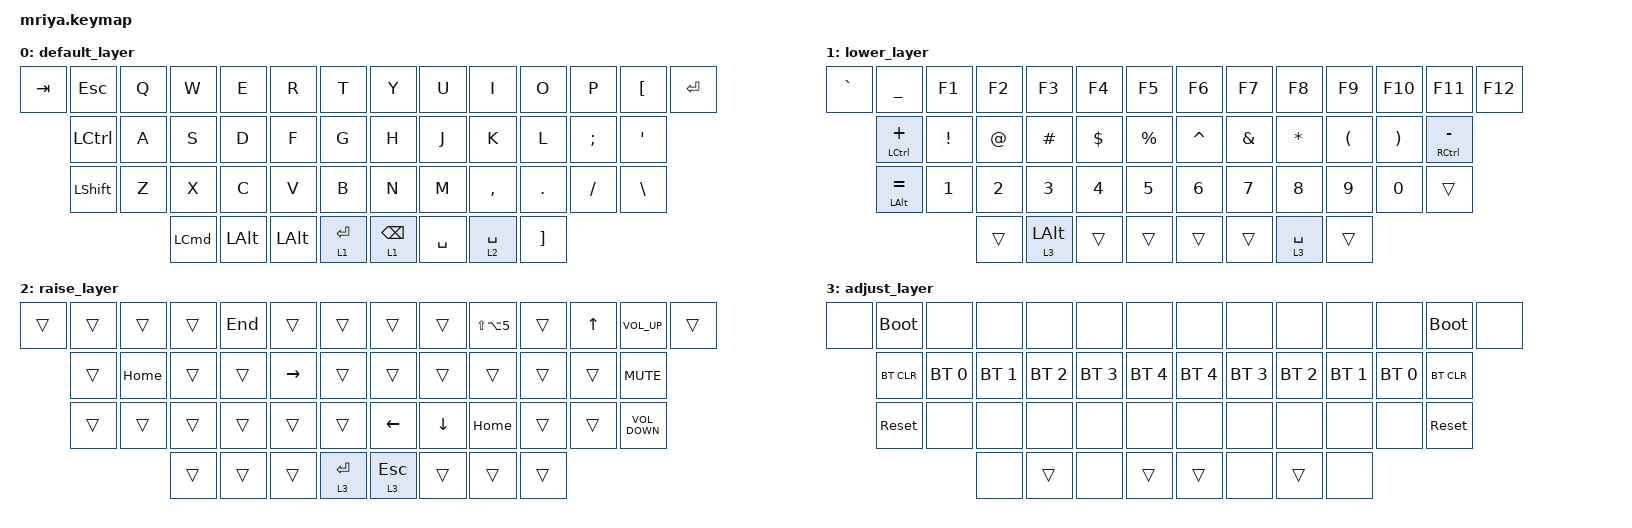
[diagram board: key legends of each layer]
/*
 * Copyright (c) 2023 Andrei Gaevskii
 *
 * SPDX-License-Identifier: MIT
 */

#include <behaviors.dtsi>
#include <dt-bindings/zmk/bt.h>
#include <dt-bindings/zmk/keys.h>

#define DEF 0
#define LWR 1
#define RSE 2
#define ADJ 3

&lt { quick_tap_ms = <200>; };

&mt { quick_tap_ms = <200>; };

/ {
    macros {
        kill: kill {
            compatible = "zmk,behavior-macro";
            #binding-cells = <0>;
            bindings = <&kp LS(END) &kp BACKSPACE>;
            label = "KILL";
            tap-ms = <5>;
        };
    };

    keymap {
        compatible = "zmk,keymap";

        default_layer {
            bindings = <
&kp TAB  &kp ESCAPE      &kp Q  &kp W             &kp E         &kp R         &kp T        &kp Y            &kp U      &kp I        &kp O       &kp P      &kp LBKT       &kp ENTER
         &kp LCTRL       &kp A  &kp S             &kp D         &kp F         &kp G        &kp H            &kp J      &kp K        &kp L       &kp SEMI   &kp SQT
         &kp LEFT_SHIFT  &kp Z  &kp X             &kp C         &kp V         &kp B        &kp N            &kp M      &kp COMMA    &kp PERIOD  &kp SLASH  &kp BACKSLASH
                                &kp LEFT_COMMAND  &kp LEFT_ALT  &kp LEFT_ALT  &lt 1 RET    &lt 1 BACKSPACE  &kp SPACE  &lt 2 SPACE  &kp RBKT
            >;
        };

        lower_layer {
            bindings = <
&kp GRAVE  &kp UNDER       &kp F1    &kp F2  &kp F3          &kp F4    &kp F5       &kp F6     &kp F7    &kp F8       &kp F9    &kp F10   &kp F11          &kp F12
           &mt LCTRL PLUS  &kp EXCL  &kp AT  &kp HASH        &kp DLLR  &kp PRCNT    &kp CARET  &kp AMPS  &kp STAR     &kp LPAR  &kp RPAR  &mt RCTRL MINUS
           &mt LALT EQUAL  &kp N1    &kp N2  &kp N3          &kp N4    &kp N5       &kp N6     &kp N7    &kp N8       &kp N9    &kp N0    &trans
                                     &trans  &lt 3 LEFT_ALT  &trans    &trans       &trans     &trans    &lt 3 SPACE  &trans
            >;
        };

        raise_layer {
            bindings = <
&trans  &trans  &trans    &trans  &kp END  &trans           &trans       &trans     &trans    &kp LS(LA(NUMBER_5))  &trans  &kp UP_ARROW  &kp C_VOLUME_UP    &trans
        &trans  &kp HOME  &trans  &trans   &kp RIGHT_ARROW  &trans       &trans     &trans    &trans                &trans  &trans        &kp K_MUTE
        &trans  &trans    &trans  &trans   &trans           &trans       &kp LEFT   &kp DOWN  &kp HOME              &trans  &trans        &kp C_VOLUME_DOWN
                          &trans  &trans   &trans           &lt 3 RET    &lt 3 ESC  &trans    &trans                &trans
            >;
        };

        adjust_layer {
            bindings = <
&none  &bootloader  &none         &none         &none         &none         &none           &none         &none         &none         &none         &none         &bootloader  &none
       &bt BT_CLR   &bt BT_SEL 0  &bt BT_SEL 1  &bt BT_SEL 2  &bt BT_SEL 3  &bt BT_SEL 4    &bt BT_SEL 4  &bt BT_SEL 3  &bt BT_SEL 2  &bt BT_SEL 1  &bt BT_SEL 0  &bt BT_CLR
       &sys_reset   &none         &none         &none         &none         &none           &none         &none         &none         &none         &none         &sys_reset
                                  &none         &trans        &none         &trans          &trans        &none         &trans        &none
            >;
        };
    };
};
